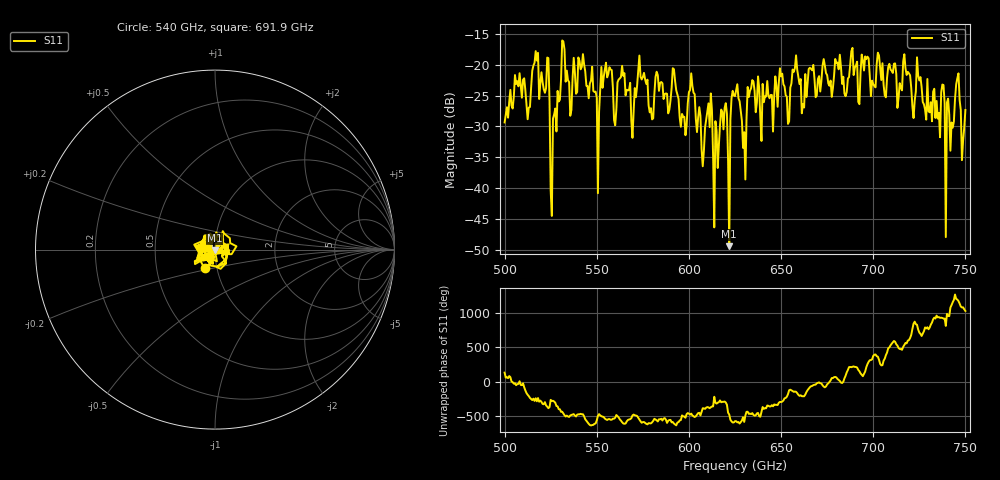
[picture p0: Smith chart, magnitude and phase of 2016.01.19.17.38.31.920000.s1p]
!Created with skrf (http://scikit-rf.org).
# GHz S RI R 50.0
!freq ReS11 ImS11
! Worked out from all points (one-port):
!   401 points, 500 GHz to 750 GHz, reference 50 ohm
!   lowest |S11| = -49.5 dB at 621.9 GHz (marker M1), VSWR 1.01, Z = 49.8 - j0.288 ohm
!   |S11| at or under -10 dB: start of sweep to end of sweep
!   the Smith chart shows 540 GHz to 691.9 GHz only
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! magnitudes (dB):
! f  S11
! 500 GHz  -29.3
! 506.9 GHz  -22.6
! 513.1 GHz  -26.9
! 516.9 GHz  -17.8
! 523.1 GHz  -18.8
! 526.2 GHz  -28.7
! 531.2 GHz  -16.0
! 535.6 GHz  -28.3
! 541.9 GHz  -20.3
! 550 GHz  -25.3
! 553.8 GHz  -22.0
! 562.5 GHz  -22.2
! 593.8 GHz  -24.8
! 608.1 GHz  -34.0
! 611.2 GHz  -30.1
! 614.4 GHz  -29.1
! 619.4 GHz  -27.0
! 621.9 GHz  -49.5
! 625 GHz  -25.1
! 630 GHz  -30.9
! 633.1 GHz  -24.2
! 656.2 GHz  -20.8
! 687.5 GHz  -20.0
! 718.8 GHz  -21.1
! 737.5 GHz  -23.2
! 740.6 GHz  -25.5
! 745.6 GHz  -22.2
! 750 GHz  -27.3
